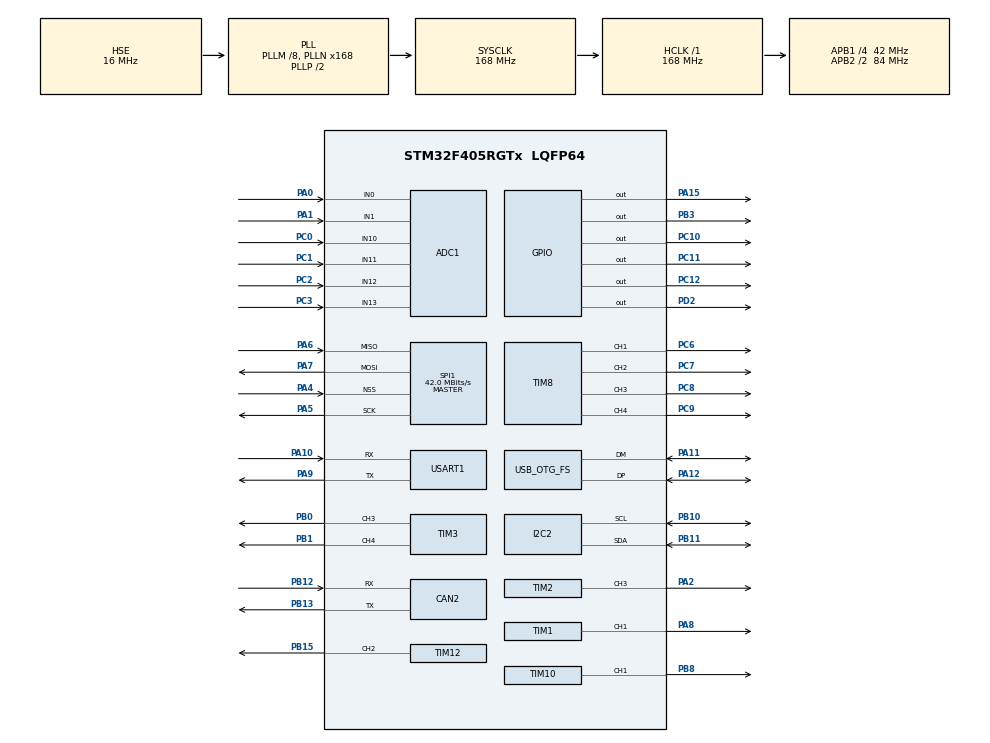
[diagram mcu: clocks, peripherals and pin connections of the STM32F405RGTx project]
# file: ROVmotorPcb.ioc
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ADC1.Channel-0\#ChannelRegularConversion=ADC_CHANNEL_1
ADC1.NbrOfConversionFlag=1
ADC1.Rank-0\#ChannelRegularConversion=1
ADC1.SamplingTime-0\#ChannelRegularConversion=ADC_SAMPLETIME_3CYCLES
ADC1.master=1
CAN2.CalculateTimeQuantum=380.95238095238096
Dma.ADC1.0.Direction=DMA_PERIPH_TO_MEMORY
Dma.ADC1.0.FIFOMode=DMA_FIFOMODE_DISABLE
Dma.ADC1.0.Instance=DMA2_Stream0
Dma.ADC1.0.MemDataAlignment=DMA_MDATAALIGN_HALFWORD
Dma.ADC1.0.MemInc=DMA_MINC_ENABLE
Dma.ADC1.0.Mode=DMA_NORMAL
Dma.ADC1.0.PeriphDataAlignment=DMA_PDATAALIGN_HALFWORD
Dma.ADC1.0.PeriphInc=DMA_PINC_DISABLE
Dma.ADC1.0.Priority=DMA_PRIORITY_MEDIUM
Dma.Request0=ADC1
Dma.Request1=USART1_RX
Dma.Request2=USART1_TX
Dma.USART1_RX.1.Direction=DMA_PERIPH_TO_MEMORY
Dma.USART1_RX.1.FIFOMode=DMA_FIFOMODE_DISABLE
Dma.USART1_RX.1.Instance=DMA2_Stream2
Dma.USART1_RX.1.MemDataAlignment=DMA_MDATAALIGN_BYTE
Dma.USART1_RX.1.MemInc=DMA_MINC_ENABLE
Dma.USART1_RX.1.Mode=DMA_NORMAL
Dma.USART1_RX.1.PeriphDataAlignment=DMA_PDATAALIGN_BYTE
Dma.USART1_RX.1.PeriphInc=DMA_PINC_DISABLE
Dma.USART1_RX.1.Priority=DMA_PRIORITY_MEDIUM
Dma.USART1_TX.2.Direction=DMA_MEMORY_TO_PERIPH
Dma.USART1_TX.2.FIFOMode=DMA_FIFOMODE_DISABLE
Dma.USART1_TX.2.Instance=DMA2_Stream7
Dma.USART1_TX.2.MemDataAlignment=DMA_MDATAALIGN_BYTE
Dma.USART1_TX.2.MemInc=DMA_MINC_ENABLE
Dma.USART1_TX.2.Mode=DMA_NORMAL
Dma.USART1_TX.2.PeriphDataAlignment=DMA_PDATAALIGN_BYTE
Dma.USART1_TX.2.PeriphInc=DMA_PINC_DISABLE
Dma.USART1_TX.2.Priority=DMA_PRIORITY_MEDIUM
Mcu.Family=STM32F4
Mcu.Name=STM32F405RGTx
Mcu.Package=LQFP64
NVIC.DMA2_Stream0_IRQn=true\:0\:0\:false\:false\:true\:false\:true
NVIC.DMA2_Stream2_IRQn=true\:0\:0\:false\:false\:true\:false\:true
NVIC.DMA2_Stream7_IRQn=true\:0\:0\:false\:false\:true\:false\:true
NVIC.OTG_FS_IRQn=true\:0\:0\:false\:false\:true\:false\:true
NVIC.PriorityGroup=NVIC_PRIORITYGROUP_4
PA0-WKUP.Signal=ADCx_IN0
PA1.Signal=ADCx_IN1
PA10.Mode=Asynchronous
PA10.Signal=USART1_RX
PA11.Mode=Device_Only
PA11.Signal=USB_OTG_FS_DM
PA12.Mode=Device_Only
PA12.Signal=USB_OTG_FS_DP
PA13.Mode=Serial_Wire
PA13.Signal=SYS_JTMS-SWDIO
PA14.Mode=Serial_Wire
PA14.Signal=SYS_JTCK-SWCLK
PA15.Signal=GPIO_Output
PA2.Signal=S_TIM2_CH3
PA4.Mode=NSS_Signal_Hard_Input
PA4.Signal=SPI1_NSS
PA5.Mode=Full_Duplex_Master
PA5.Signal=SPI1_SCK
PA6.Mode=Full_Duplex_Master
PA6.Signal=SPI1_MISO
PA7.Mode=Full_Duplex_Master
PA7.Signal=SPI1_MOSI
PA8.Signal=S_TIM1_CH1
PA9.Mode=Asynchronous
PA9.Signal=USART1_TX
PB0.Signal=S_TIM3_CH3
PB1.Signal=S_TIM3_CH4
PB10.Mode=I2C
PB10.Signal=I2C2_SCL
PB11.Mode=I2C
PB11.Signal=I2C2_SDA
PB12.Mode=Slave
PB12.Signal=CAN2_RX
PB13.Mode=Slave
PB13.Signal=CAN2_TX
PB15.Signal=S_TIM12_CH2
PB3.Signal=GPIO_Output
PB8.Signal=S_TIM10_CH1
PC0.Signal=ADCx_IN10
PC1.Signal=ADCx_IN11
PC10.Signal=GPIO_Output
PC11.Signal=GPIO_Output
PC12.Signal=GPIO_Output
PC2.Signal=ADCx_IN12
PC3.Signal=ADCx_IN13
PC6.Signal=S_TIM8_CH1
PC7.Signal=S_TIM8_CH2
PC8.Signal=S_TIM8_CH3
PC9.Signal=S_TIM8_CH4
PD2.Signal=GPIO_Output
PH0-OSC_IN.Mode=HSE-External-Oscillator
PH0-OSC_IN.Signal=RCC_OSC_IN
PH1-OSC_OUT.Mode=HSE-External-Oscillator
PH1-OSC_OUT.Signal=RCC_OSC_OUT
ProjectManager.HeapSize=0x200
ProjectManager.StackSize=0x400
ProjectManager.TargetToolchain=MDK-ARM V5
RCC.48MHZClocksFreq_Value=48000000
RCC.AHBFreq_Value=168000000
RCC.APB1CLKDivider=RCC_HCLK_DIV4
RCC.APB1Freq_Value=42000000
RCC.APB1TimFreq_Value=84000000
RCC.APB2CLKDivider=RCC_HCLK_DIV2
RCC.APB2Freq_Value=84000000
RCC.APB2TimFreq_Value=168000000
RCC.CortexFreq_Value=168000000
RCC.HCLKFreq_Value=168000000
RCC.HSE_VALUE=16000000
RCC.HSI_VALUE=16000000
RCC.LSE_VALUE=32768
RCC.PLLM=8
RCC.PLLN=168
RCC.PLLQ=7
RCC.SYSCLKFreq_VALUE=168000000
RCC.SYSCLKSource=RCC_SYSCLKSOURCE_PLLCLK
RCC.VCOOutputFreq_Value=336000000
SH.ADCx_IN0.0=ADC1_IN0,IN0
SH.ADCx_IN1.0=ADC1_IN1,IN1
SH.ADCx_IN10.0=ADC1_IN10,IN10
SH.ADCx_IN11.0=ADC1_IN11,IN11
SH.ADCx_IN12.0=ADC1_IN12,IN12
SH.ADCx_IN13.0=ADC1_IN13,IN13
SH.S_TIM10_CH1.0=TIM10_CH1,PWM Generation1 CH1
SH.S_TIM12_CH2.0=TIM12_CH2,PWM Generation2 CH2
SH.S_TIM1_CH1.0=TIM1_CH1,Output Compare1 CH1
SH.S_TIM2_CH3.0=TIM2_CH3,PWM Generation3 CH3
SH.S_TIM3_CH3.0=TIM3_CH3,PWM Generation3 CH3
SH.S_TIM3_CH4.0=TIM3_CH4,PWM Generation4 CH4
SH.S_TIM8_CH1.0=TIM8_CH1,PWM Generation1 CH1
SH.S_TIM8_CH2.0=TIM8_CH2,PWM Generation2 CH2
SH.S_TIM8_CH3.0=TIM8_CH3,PWM Generation3 CH3
SH.S_TIM8_CH4.0=TIM8_CH4,PWM Generation4 CH4
SPI1.CalculateBaudRate=42.0 MBits/s
SPI1.Direction=SPI_DIRECTION_2LINES
SPI1.Mode=SPI_MODE_MASTER
SPI1.VirtualNSS=VM_NSSHARD
SPI1.VirtualType=VM_MASTER
TIM1.Channel-Output\ Compare1\ CH1=TIM_CHANNEL_1
TIM10.Channel=TIM_CHANNEL_1
TIM12.Channel-PWM\ Generation2\ CH2=TIM_CHANNEL_2
TIM2.Channel-PWM\ Generation3\ CH3=TIM_CHANNEL_3
TIM3.Channel-PWM\ Generation3\ CH3=TIM_CHANNEL_3
TIM3.Channel-PWM\ Generation4\ CH4=TIM_CHANNEL_4
TIM8.Channel-PWM\ Generation1\ CH1=TIM_CHANNEL_1
TIM8.Channel-PWM\ Generation2\ CH2=TIM_CHANNEL_2
TIM8.Channel-PWM\ Generation3\ CH3=TIM_CHANNEL_3
TIM8.Channel-PWM\ Generation4\ CH4=TIM_CHANNEL_4
USART1.VirtualMode=VM_ASYNC
USB_DEVICE.CLASS_NAME_FS=CDC
USB_DEVICE.VirtualMode-CDC_FS=Cdc
USB_DEVICE.VirtualModeFS=Cdc_FS
USB_OTG_FS.VirtualMode=Device_Only
VP_TIM10_VS_ClockSourceINT.Mode=Enable_Timer
VP_TIM12_VS_ClockSourceINT.Mode=Internal
VP_TIM1_VS_ClockSourceINT.Mode=Internal
VP_TIM3_VS_ClockSourceINT.Mode=Internal
VP_TIM8_VS_ClockSourceINT.Mode=Internal
VP_USB_DEVICE_VS_USB_DEVICE_CDC_FS.Mode=CDC_FS
board=custom

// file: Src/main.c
/* USER CODE BEGIN Header */
/**
  ******************************************************************************
  * @file           : main.c
  * @brief          : Main program body
  ******************************************************************************
  * @attention
  *
  * <h2><center>&copy; Copyright (c) 2019 STMicroelectronics.
  * All rights reserved.</center></h2>
  *
  * This software component is licensed by ST under Ultimate Liberty license
  * SLA0044, the "License"; You may not use this file except in compliance with
  * the License. You may obtain a copy of the License at:
  *                             www.st.com/SLA0044
  *
  ******************************************************************************
  */
/* USER CODE END Header */

#include "main.h"
#include "usb_device.h"

/* USER CODE BEGIN Includes */
#include "MPU9250_I2C.h"
#include "usbd_cdc_if.h"
#include "MadgwickAHRS.c"
#include "BMP280_driver.h"

/* USER CODE END Includes */

ADC_HandleTypeDef hadc1;
DMA_HandleTypeDef hdma_adc1;

CAN_HandleTypeDef hcan2;

I2C_HandleTypeDef hi2c2;

SPI_HandleTypeDef hspi1;

TIM_HandleTypeDef htim1;
TIM_HandleTypeDef htim2;
TIM_HandleTypeDef htim3;
TIM_HandleTypeDef htim8;
TIM_HandleTypeDef htim10;
TIM_HandleTypeDef htim12;

UART_HandleTypeDef huart1;
DMA_HandleTypeDef hdma_usart1_rx;
DMA_HandleTypeDef hdma_usart1_tx;

void SystemClock_Config(void);
static void MX_GPIO_Init(void);
static void MX_DMA_Init(void);
static void MX_I2C2_Init(void);
static void MX_SPI1_Init(void);
static void MX_TIM2_Init(void);
static void MX_TIM3_Init(void);
static void MX_TIM8_Init(void);
static void MX_USART1_UART_Init(void);
static void MX_ADC1_Init(void);
static void MX_TIM1_Init(void);
static void MX_TIM10_Init(void);
static void MX_TIM12_Init(void);
static void MX_CAN2_Init(void);

int main(void)
{
  /* USER CODE BEGIN 1 */
	struct mpuSensorData sensorData;
	char outdata[100];
	struct DPL{
		int16_t h1;
		int16_t h2;
		struct mpuSensorData Data;
	};
	union{
		struct DPL Data;
		uint8_t buffer[24];
	  }Packet;
	  Packet.Data.h1=0x03;
		Packet.Data.h2=0x03;

		struct{
			uint16_t ch0;
			uint16_t ch1;
			uint16_t ch10;
			uint16_t ch11;
			uint16_t ch12;
			uint16_t ch13;
		}adc;

  /* USER CODE END 1 */

  /* MCU Configuration--------------------------------------------------------*/

  /* Reset of all peripherals, Initializes the Flash interface and the Systick. */
  HAL_Init();

  /* Configure the system clock */
  SystemClock_Config();

  /* Initialize all configured peripherals */
  MX_GPIO_Init();
  MX_DMA_Init();
  MX_I2C2_Init();
  MX_SPI1_Init();
  MX_TIM2_Init();
  MX_TIM3_Init();
  MX_TIM8_Init();
  MX_USART1_UART_Init();
  MX_USB_DEVICE_Init();
  MX_ADC1_Init();
  MX_TIM1_Init();
  MX_TIM10_Init();
  MX_TIM12_Init();
  MX_CAN2_Init();
  /* USER CODE BEGIN 2 */
	HAL_TIM_PWM_Start(&htim2,TIM_CHANNEL_ALL);
	HAL_TIM_PWM_Start(&htim3,TIM_CHANNEL_ALL);
	HAL_TIM_PWM_Start(&htim8,TIM_CHANNEL_ALL);

	HAL_ADC_Start_DMA(&hadc1,(uint32_t*)&adc,2);

	BMP280_Handle_t bmp280;
	float bmp280_pressure, bmp280_temperature, bmp280_humidity;
	BMP280_init_default_params(&bmp280.params);
	bmp280.addr = BMP280_I2C_ADDR_0;
	bmp280.i2c = &hi2c1;

	uint16_t size;
	uint8_t Data[256];

	while (!BMP280_init(&bmp280, &bmp280.params))
	{
			size = sprintf((char *)Data, "BMP280 initialization failed\r\n");
			HAL_UART_Transmit(&huart1, Data, size, 1000);
			HAL_Delay(2000);
	}

	bool bme280p = bmp280.id == BME280_CHIP_ID;
	size = sprintf((char *)Data, "BMP280: found %s\r\n", bme280p ? "BME280" : "BMP280");
	HAL_UART_Transmit(&huart1, Data, size, 1000);

  /* USER CODE END 2 */

  /* Infinite loop */
  /* USER CODE BEGIN WHILE */
  while (1)
  {
					while (!BMP280_read_all_params_float(&bmp280, &bmp280_temperature, &bmp280_pressure, &bmp280_humidity))
			{
					size = sprintf((char *)Data, "BMP280: Temperature/pressure reading failed\r\n");
					//HAL_UART_Transmit(&huart1, Data, size, 1000);
					HAL_Delay(1000);
			}

			size = sprintf((char *)Data,"BMP280: Pressure: %.2f Pa, Temperature: %.2f C", bmp280_pressure, bmp280_temperature);
			//HAL_UART_Transmit(&huart1, Data, size, 1000);
			if(bme280p)
			{
					size = sprintf((char *)Data,", Humidity: %.2f\r\n", bmp280_humidity);
					//HAL_UART_Transmit(&huart1, Data, size, 1000);
			}
			else
			{
					size = sprintf((char *)Data, "\r\n");
					//HAL_UART_Transmit(&huart1, Data, size, 1000);
			}
		mpuReadSensor(&sensorData);
		MadgwickAHRSupdate(sensorData.ax,sensorData.ay,sensorData.az,sensorData.gx,sensorData.gy,sensorData.gz,sensorData.hx,sensorData.hy,sensorData.hz);
		sprintf(outdata,"%f,%f,%f\n",roll,pitch,yaw);
		//sprintf(outdata,"%d,%d,%d,%d,%d,%d,%d,%d,%d\n",sensorData.ax,sensorData.ay,sensorData.az,sensorData.gx,sensorData.gy,sensorData.gz,sensorData.hx,sensorData.hy,sensorData.hz);
		CDC_Transmit_FS((uint8_t *)outdata, sizeof(outdata));
		HAL_UART_Transmit_DMA(&huart1, (uint8_t *)outdata, sizeof(outdata));
    /* USER CODE END WHILE */

  }
}

void SystemClock_Config(void)
{
  RCC_OscInitTypeDef RCC_OscInitStruct = {0};
  RCC_ClkInitTypeDef RCC_ClkInitStruct = {0};

  /** Configure the main internal regulator output voltage
  */
  __HAL_RCC_PWR_CLK_ENABLE();
  __HAL_PWR_VOLTAGESCALING_CONFIG(PWR_REGULATOR_VOLTAGE_SCALE1);
  /** Initializes the CPU, AHB and APB busses clocks
  */
  RCC_OscInitStruct.OscillatorType = RCC_OSCILLATORTYPE_HSE;
  RCC_OscInitStruct.HSEState = RCC_HSE_ON;
  RCC_OscInitStruct.PLL.PLLState = RCC_PLL_ON;
  RCC_OscInitStruct.PLL.PLLSource = RCC_PLLSOURCE_HSE;
  RCC_OscInitStruct.PLL.PLLM = 8;
  RCC_OscInitStruct.PLL.PLLN = 168;
  RCC_OscInitStruct.PLL.PLLP = RCC_PLLP_DIV2;
  RCC_OscInitStruct.PLL.PLLQ = 7;
  if (HAL_RCC_OscConfig(&RCC_OscInitStruct) != HAL_OK)
  {
    Error_Handler();
  }
  /** Initializes the CPU, AHB and APB busses clocks
  */
  RCC_ClkInitStruct.ClockType = RCC_CLOCKTYPE_HCLK|RCC_CLOCKTYPE_SYSCLK
                              |RCC_CLOCKTYPE_PCLK1|RCC_CLOCKTYPE_PCLK2;
  RCC_ClkInitStruct.SYSCLKSource = RCC_SYSCLKSOURCE_PLLCLK;
  RCC_ClkInitStruct.AHBCLKDivider = RCC_SYSCLK_DIV1;
  RCC_ClkInitStruct.APB1CLKDivider = RCC_HCLK_DIV4;
  RCC_ClkInitStruct.APB2CLKDivider = RCC_HCLK_DIV2;

  if (HAL_RCC_ClockConfig(&RCC_ClkInitStruct, FLASH_LATENCY_5) != HAL_OK)
  {
    Error_Handler();
  }
}

static void MX_ADC1_Init(void)
{

  ADC_ChannelConfTypeDef sConfig = {0};

  /** Configure the global features of the ADC (Clock, Resolution, Data Alignment and number of conversion)
  */
  hadc1.Instance = ADC1;
  hadc1.Init.ClockPrescaler = ADC_CLOCK_SYNC_PCLK_DIV4;
  hadc1.Init.Resolution = ADC_RESOLUTION_12B;
  hadc1.Init.ScanConvMode = DISABLE;
  hadc1.Init.ContinuousConvMode = DISABLE;
  hadc1.Init.DiscontinuousConvMode = DISABLE;
  hadc1.Init.ExternalTrigConvEdge = ADC_EXTERNALTRIGCONVEDGE_NONE;
  hadc1.Init.ExternalTrigConv = ADC_SOFTWARE_START;
  hadc1.Init.DataAlign = ADC_DATAALIGN_RIGHT;
  hadc1.Init.NbrOfConversion = 1;
  hadc1.Init.DMAContinuousRequests = DISABLE;
  hadc1.Init.EOCSelection = ADC_EOC_SINGLE_CONV;
  if (HAL_ADC_Init(&hadc1) != HAL_OK)
  {
    Error_Handler();
  }
  /** Configure for the selected ADC regular channel its corresponding rank in the sequencer and its sample time.
  */
  sConfig.Channel = ADC_CHANNEL_1;
  sConfig.Rank = 1;
  sConfig.SamplingTime = ADC_SAMPLETIME_3CYCLES;
  if (HAL_ADC_ConfigChannel(&hadc1, &sConfig) != HAL_OK)
  {
    Error_Handler();
  }

}

static void MX_CAN2_Init(void)
{

  hcan2.Instance = CAN2;
  hcan2.Init.Prescaler = 16;
  hcan2.Init.Mode = CAN_MODE_NORMAL;
  hcan2.Init.SyncJumpWidth = CAN_SJW_1TQ;
  hcan2.Init.TimeSeg1 = CAN_BS1_1TQ;
  hcan2.Init.TimeSeg2 = CAN_BS2_1TQ;
  hcan2.Init.TimeTriggeredMode = DISABLE;
  hcan2.Init.AutoBusOff = DISABLE;
  hcan2.Init.AutoWakeUp = DISABLE;
  hcan2.Init.AutoRetransmission = DISABLE;
  hcan2.Init.ReceiveFifoLocked = DISABLE;
  hcan2.Init.TransmitFifoPriority = DISABLE;
  if (HAL_CAN_Init(&hcan2) != HAL_OK)
  {
    Error_Handler();
  }

}

static void MX_I2C2_Init(void)
{

  hi2c2.Instance = I2C2;
  hi2c2.Init.ClockSpeed = 100000;
  hi2c2.Init.DutyCycle = I2C_DUTYCYCLE_2;
  hi2c2.Init.OwnAddress1 = 0;
  hi2c2.Init.AddressingMode = I2C_ADDRESSINGMODE_7BIT;
  hi2c2.Init.DualAddressMode = I2C_DUALADDRESS_DISABLE;
  hi2c2.Init.OwnAddress2 = 0;
  hi2c2.Init.GeneralCallMode = I2C_GENERALCALL_DISABLE;
  hi2c2.Init.NoStretchMode = I2C_NOSTRETCH_DISABLE;
  if (HAL_I2C_Init(&hi2c2) != HAL_OK)
  {
    Error_Handler();
  }

}

static void MX_SPI1_Init(void)
{

  /* SPI1 parameter configuration*/
  hspi1.Instance = SPI1;
  hspi1.Init.Mode = SPI_MODE_MASTER;
  hspi1.Init.Direction = SPI_DIRECTION_2LINES;
  hspi1.Init.DataSize = SPI_DATASIZE_8BIT;
  hspi1.Init.CLKPolarity = SPI_POLARITY_LOW;
  hspi1.Init.CLKPhase = SPI_PHASE_1EDGE;
  hspi1.Init.NSS = SPI_NSS_HARD_INPUT;
  hspi1.Init.BaudRatePrescaler = SPI_BAUDRATEPRESCALER_2;
  hspi1.Init.FirstBit = SPI_FIRSTBIT_MSB;
  hspi1.Init.TIMode = SPI_TIMODE_DISABLE;
  hspi1.Init.CRCCalculation = SPI_CRCCALCULATION_DISABLE;
  hspi1.Init.CRCPolynomial = 10;
  if (HAL_SPI_Init(&hspi1) != HAL_OK)
  {
    Error_Handler();
  }

}

static void MX_TIM1_Init(void)
{

  TIM_ClockConfigTypeDef sClockSourceConfig = {0};
  TIM_MasterConfigTypeDef sMasterConfig = {0};
  TIM_OC_InitTypeDef sConfigOC = {0};
  TIM_BreakDeadTimeConfigTypeDef sBreakDeadTimeConfig = {0};

  htim1.Instance = TIM1;
  htim1.Init.Prescaler = 0;
  htim1.Init.CounterMode = TIM_COUNTERMODE_UP;
  htim1.Init.Period = 0;
  htim1.Init.ClockDivision = TIM_CLOCKDIVISION_DIV1;
  htim1.Init.RepetitionCounter = 0;
  htim1.Init.AutoReloadPreload = TIM_AUTORELOAD_PRELOAD_DISABLE;
  if (HAL_TIM_Base_Init(&htim1) != HAL_OK)
  {
    Error_Handler();
  }
  sClockSourceConfig.ClockSource = TIM_CLOCKSOURCE_INTERNAL;
  if (HAL_TIM_ConfigClockSource(&htim1, &sClockSourceConfig) != HAL_OK)
  {
    Error_Handler();
  }
  if (HAL_TIM_OC_Init(&htim1) != HAL_OK)
  {
    Error_Handler();
  }
  sMasterConfig.MasterOutputTrigger = TIM_TRGO_RESET;
  sMasterConfig.MasterSlaveMode = TIM_MASTERSLAVEMODE_DISABLE;
  if (HAL_TIMEx_MasterConfigSynchronization(&htim1, &sMasterConfig) != HAL_OK)
  {
    Error_Handler();
  }
  sConfigOC.OCMode = TIM_OCMODE_TIMING;
  sConfigOC.Pulse = 0;
  sConfigOC.OCPolarity = TIM_OCPOLARITY_HIGH;
  sConfigOC.OCNPolarity = TIM_OCNPOLARITY_HIGH;
  sConfigOC.OCFastMode = TIM_OCFAST_DISABLE;
  sConfigOC.OCIdleState = TIM_OCIDLESTATE_RESET;
  sConfigOC.OCNIdleState = TIM_OCNIDLESTATE_RESET;
  if (HAL_TIM_OC_ConfigChannel(&htim1, &sConfigOC, TIM_CHANNEL_1) != HAL_OK)
  {
    Error_Handler();
  }
  sBreakDeadTimeConfig.OffStateRunMode = TIM_OSSR_DISABLE;
  sBreakDeadTimeConfig.OffStateIDLEMode = TIM_OSSI_DISABLE;
  sBreakDeadTimeConfig.LockLevel = TIM_LOCKLEVEL_OFF;
  sBreakDeadTimeConfig.DeadTime = 0;
  sBreakDeadTimeConfig.BreakState = TIM_BREAK_DISABLE;
  sBreakDeadTimeConfig.BreakPolarity = TIM_BREAKPOLARITY_HIGH;
  sBreakDeadTimeConfig.AutomaticOutput = TIM_AUTOMATICOUTPUT_DISABLE;
  if (HAL_TIMEx_ConfigBreakDeadTime(&htim1, &sBreakDeadTimeConfig) != HAL_OK)
  {
    Error_Handler();
  }
  HAL_TIM_MspPostInit(&htim1);

}

static void MX_TIM2_Init(void)
{

  TIM_MasterConfigTypeDef sMasterConfig = {0};
  TIM_OC_InitTypeDef sConfigOC = {0};

  htim2.Instance = TIM2;
  htim2.Init.Prescaler = 0;
  htim2.Init.CounterMode = TIM_COUNTERMODE_UP;
  htim2.Init.Period = 0;
  htim2.Init.ClockDivision = TIM_CLOCKDIVISION_DIV1;
  htim2.Init.AutoReloadPreload = TIM_AUTORELOAD_PRELOAD_DISABLE;
  if (HAL_TIM_PWM_Init(&htim2) != HAL_OK)
  {
    Error_Handler();
  }
  sMasterConfig.MasterOutputTrigger = TIM_TRGO_RESET;
  sMasterConfig.MasterSlaveMode = TIM_MASTERSLAVEMODE_DISABLE;
  if (HAL_TIMEx_MasterConfigSynchronization(&htim2, &sMasterConfig) != HAL_OK)
  {
    Error_Handler();
  }
  sConfigOC.OCMode = TIM_OCMODE_PWM1;
  sConfigOC.Pulse = 0;
  sConfigOC.OCPolarity = TIM_OCPOLARITY_HIGH;
  sConfigOC.OCFastMode = TIM_OCFAST_DISABLE;
  if (HAL_TIM_PWM_ConfigChannel(&htim2, &sConfigOC, TIM_CHANNEL_3) != HAL_OK)
  {
    Error_Handler();
  }
  HAL_TIM_MspPostInit(&htim2);

}

static void MX_TIM3_Init(void)
{

  TIM_ClockConfigTypeDef sClockSourceConfig = {0};
  TIM_MasterConfigTypeDef sMasterConfig = {0};
  TIM_OC_InitTypeDef sConfigOC = {0};

  htim3.Instance = TIM3;
  htim3.Init.Prescaler = 0;
  htim3.Init.CounterMode = TIM_COUNTERMODE_UP;
  htim3.Init.Period = 0;
  htim3.Init.ClockDivision = TIM_CLOCKDIVISION_DIV1;
  htim3.Init.AutoReloadPreload = TIM_AUTORELOAD_PRELOAD_DISABLE;
  if (HAL_TIM_Base_Init(&htim3) != HAL_OK)
  {
    Error_Handler();
  }
  sClockSourceConfig.ClockSource = TIM_CLOCKSOURCE_INTERNAL;
  if (HAL_TIM_ConfigClockSource(&htim3, &sClockSourceConfig) != HAL_OK)
  {
    Error_Handler();
  }
  if (HAL_TIM_PWM_Init(&htim3) != HAL_OK)
  {
    Error_Handler();
  }
  sMasterConfig.MasterOutputTrigger = TIM_TRGO_RESET;
  sMasterConfig.MasterSlaveMode = TIM_MASTERSLAVEMODE_DISABLE;
  if (HAL_TIMEx_MasterConfigSynchronization(&htim3, &sMasterConfig) != HAL_OK)
  {
    Error_Handler();
  }
  sConfigOC.OCMode = TIM_OCMODE_PWM1;
  sConfigOC.Pulse = 0;
  sConfigOC.OCPolarity = TIM_OCPOLARITY_HIGH;
  sConfigOC.OCFastMode = TIM_OCFAST_DISABLE;
  if (HAL_TIM_PWM_ConfigChannel(&htim3, &sConfigOC, TIM_CHANNEL_3) != HAL_OK)
  {
    Error_Handler();
  }
  if (HAL_TIM_PWM_ConfigChannel(&htim3, &sConfigOC, TIM_CHANNEL_4) != HAL_OK)
  {
    Error_Handler();
  }
  HAL_TIM_MspPostInit(&htim3);

}

static void MX_TIM8_Init(void)
{

  TIM_ClockConfigTypeDef sClockSourceConfig = {0};
  TIM_MasterConfigTypeDef sMasterConfig = {0};
  TIM_OC_InitTypeDef sConfigOC = {0};
  TIM_BreakDeadTimeConfigTypeDef sBreakDeadTimeConfig = {0};

  htim8.Instance = TIM8;
  htim8.Init.Prescaler = 0;
  htim8.Init.CounterMode = TIM_COUNTERMODE_UP;
  htim8.Init.Period = 0;
  htim8.Init.ClockDivision = TIM_CLOCKDIVISION_DIV1;
  htim8.Init.RepetitionCounter = 0;
  htim8.Init.AutoReloadPreload = TIM_AUTORELOAD_PRELOAD_DISABLE;
  if (HAL_TIM_Base_Init(&htim8) != HAL_OK)
  {
    Error_Handler();
  }
  sClockSourceConfig.ClockSource = TIM_CLOCKSOURCE_INTERNAL;
  if (HAL_TIM_ConfigClockSource(&htim8, &sClockSourceConfig) != HAL_OK)
  {
    Error_Handler();
  }
  if (HAL_TIM_PWM_Init(&htim8) != HAL_OK)
  {
    Error_Handler();
  }
  sMasterConfig.MasterOutputTrigger = TIM_TRGO_RESET;
  sMasterConfig.MasterSlaveMode = TIM_MASTERSLAVEMODE_DISABLE;
  if (HAL_TIMEx_MasterConfigSynchronization(&htim8, &sMasterConfig) != HAL_OK)
  {
    Error_Handler();
  }
  sConfigOC.OCMode = TIM_OCMODE_PWM1;
  sConfigOC.Pulse = 0;
  sConfigOC.OCPolarity = TIM_OCPOLARITY_HIGH;
  sConfigOC.OCNPolarity = TIM_OCNPOLARITY_HIGH;
  sConfigOC.OCFastMode = TIM_OCFAST_DISABLE;
  sConfigOC.OCIdleState = TIM_OCIDLESTATE_RESET;
  sConfigOC.OCNIdleState = TIM_OCNIDLESTATE_RESET;
  if (HAL_TIM_PWM_ConfigChannel(&htim8, &sConfigOC, TIM_CHANNEL_1) != HAL_OK)
  {
    Error_Handler();
  }
  if (HAL_TIM_PWM_ConfigChannel(&htim8, &sConfigOC, TIM_CHANNEL_2) != HAL_OK)
  {
    Error_Handler();
  }
  if (HAL_TIM_PWM_ConfigChannel(&htim8, &sConfigOC, TIM_CHANNEL_3) != HAL_OK)
  {
    Error_Handler();
  }
  if (HAL_TIM_PWM_ConfigChannel(&htim8, &sConfigOC, TIM_CHANNEL_4) != HAL_OK)
  {
    Error_Handler();
  }
  sBreakDeadTimeConfig.OffStateRunMode = TIM_OSSR_DISABLE;
  sBreakDeadTimeConfig.OffStateIDLEMode = TIM_OSSI_DISABLE;
  sBreakDeadTimeConfig.LockLevel = TIM_LOCKLEVEL_OFF;
  sBreakDeadTimeConfig.DeadTime = 0;
  sBreakDeadTimeConfig.BreakState = TIM_BREAK_DISABLE;
  sBreakDeadTimeConfig.BreakPolarity = TIM_BREAKPOLARITY_HIGH;
  sBreakDeadTimeConfig.AutomaticOutput = TIM_AUTOMATICOUTPUT_DISABLE;
  if (HAL_TIMEx_ConfigBreakDeadTime(&htim8, &sBreakDeadTimeConfig) != HAL_OK)
  {
    Error_Handler();
  }
  HAL_TIM_MspPostInit(&htim8);

}

static void MX_TIM10_Init(void)
{

  TIM_OC_InitTypeDef sConfigOC = {0};

  htim10.Instance = TIM10;
  htim10.Init.Prescaler = 0;
  htim10.Init.CounterMode = TIM_COUNTERMODE_UP;
  htim10.Init.Period = 0;
  htim10.Init.ClockDivision = TIM_CLOCKDIVISION_DIV1;
  htim10.Init.AutoReloadPreload = TIM_AUTORELOAD_PRELOAD_DISABLE;
  if (HAL_TIM_Base_Init(&htim10) != HAL_OK)
  {
    Error_Handler();
  }
  if (HAL_TIM_PWM_Init(&htim10) != HAL_OK)
  {
    Error_Handler();
  }
  sConfigOC.OCMode = TIM_OCMODE_PWM1;
  sConfigOC.Pulse = 0;
  sConfigOC.OCPolarity = TIM_OCPOLARITY_HIGH;
  sConfigOC.OCFastMode = TIM_OCFAST_DISABLE;
  if (HAL_TIM_PWM_ConfigChannel(&htim10, &sConfigOC, TIM_CHANNEL_1) != HAL_OK)
  {
    Error_Handler();
  }
  HAL_TIM_MspPostInit(&htim10);

}

static void MX_TIM12_Init(void)
{

  TIM_ClockConfigTypeDef sClockSourceConfig = {0};
  TIM_OC_InitTypeDef sConfigOC = {0};

  htim12.Instance = TIM12;
  htim12.Init.Prescaler = 0;
  htim12.Init.CounterMode = TIM_COUNTERMODE_UP;
  htim12.Init.Period = 0;
  htim12.Init.ClockDivision = TIM_CLOCKDIVISION_DIV1;
  htim12.Init.AutoReloadPreload = TIM_AUTORELOAD_PRELOAD_DISABLE;
  if (HAL_TIM_Base_Init(&htim12) != HAL_OK)
  {
    Error_Handler();
  }
  sClockSourceConfig.ClockSource = TIM_CLOCKSOURCE_INTERNAL;
  if (HAL_TIM_ConfigClockSource(&htim12, &sClockSourceConfig) != HAL_OK)
  {
    Error_Handler();
  }
  if (HAL_TIM_PWM_Init(&htim12) != HAL_OK)
  {
    Error_Handler();
  }
  sConfigOC.OCMode = TIM_OCMODE_PWM1;
  sConfigOC.Pulse = 0;
  sConfigOC.OCPolarity = TIM_OCPOLARITY_HIGH;
  sConfigOC.OCFastMode = TIM_OCFAST_DISABLE;
  if (HAL_TIM_PWM_ConfigChannel(&htim12, &sConfigOC, TIM_CHANNEL_2) != HAL_OK)
  {
    Error_Handler();
  }
  HAL_TIM_MspPostInit(&htim12);

}

static void MX_USART1_UART_Init(void)
{

  huart1.Instance = USART1;
  huart1.Init.BaudRate = 115200;
  huart1.Init.WordLength = UART_WORDLENGTH_8B;
  huart1.Init.StopBits = UART_STOPBITS_1;
  huart1.Init.Parity = UART_PARITY_NONE;
  huart1.Init.Mode = UART_MODE_TX_RX;
  huart1.Init.HwFlowCtl = UART_HWCONTROL_NONE;
  huart1.Init.OverSampling = UART_OVERSAMPLING_16;
  if (HAL_UART_Init(&huart1) != HAL_OK)
  {
    Error_Handler();
  }

}

static void MX_DMA_Init(void)
{
  /* DMA controller clock enable */
  __HAL_RCC_DMA2_CLK_ENABLE();

  /* DMA interrupt init */
  /* DMA2_Stream0_IRQn interrupt configuration */
  HAL_NVIC_SetPriority(DMA2_Stream0_IRQn, 0, 0);
  HAL_NVIC_EnableIRQ(DMA2_Stream0_IRQn);
  /* DMA2_Stream2_IRQn interrupt configuration */
  HAL_NVIC_SetPriority(DMA2_Stream2_IRQn, 0, 0);
  HAL_NVIC_EnableIRQ(DMA2_Stream2_IRQn);
  /* DMA2_Stream7_IRQn interrupt configuration */
  HAL_NVIC_SetPriority(DMA2_Stream7_IRQn, 0, 0);
  HAL_NVIC_EnableIRQ(DMA2_Stream7_IRQn);

}

static void MX_GPIO_Init(void)
{
  GPIO_InitTypeDef GPIO_InitStruct = {0};

  /* GPIO Ports Clock Enable */
  __HAL_RCC_GPIOH_CLK_ENABLE();
  __HAL_RCC_GPIOC_CLK_ENABLE();
  __HAL_RCC_GPIOA_CLK_ENABLE();
  __HAL_RCC_GPIOB_CLK_ENABLE();
  __HAL_RCC_GPIOD_CLK_ENABLE();

  /*Configure GPIO pin Output Level */
  HAL_GPIO_WritePin(GPIOA, GPIO_PIN_15, GPIO_PIN_RESET);

  /*Configure GPIO pin Output Level */
  HAL_GPIO_WritePin(GPIOC, GPIO_PIN_10|GPIO_PIN_11|GPIO_PIN_12, GPIO_PIN_RESET);

  /*Configure GPIO pin Output Level */
  HAL_GPIO_WritePin(GPIOD, GPIO_PIN_2, GPIO_PIN_RESET);

  /*Configure GPIO pin Output Level */
  HAL_GPIO_WritePin(GPIOB, GPIO_PIN_3, GPIO_PIN_RESET);

  /*Configure GPIO pin : PA15 */
  GPIO_InitStruct.Pin = GPIO_PIN_15;
  GPIO_InitStruct.Mode = GPIO_MODE_OUTPUT_PP;
  GPIO_InitStruct.Pull = GPIO_NOPULL;
  GPIO_InitStruct.Speed = GPIO_SPEED_FREQ_LOW;
  HAL_GPIO_Init(GPIOA, &GPIO_InitStruct);

  /*Configure GPIO pins : PC10 PC11 PC12 */
  GPIO_InitStruct.Pin = GPIO_PIN_10|GPIO_PIN_11|GPIO_PIN_12;
  GPIO_InitStruct.Mode = GPIO_MODE_OUTPUT_PP;
  GPIO_InitStruct.Pull = GPIO_NOPULL;
  GPIO_InitStruct.Speed = GPIO_SPEED_FREQ_LOW;
  HAL_GPIO_Init(GPIOC, &GPIO_InitStruct);

  /*Configure GPIO pin : PD2 */
  GPIO_InitStruct.Pin = GPIO_PIN_2;
  GPIO_InitStruct.Mode = GPIO_MODE_OUTPUT_PP;
  GPIO_InitStruct.Pull = GPIO_NOPULL;
  GPIO_InitStruct.Speed = GPIO_SPEED_FREQ_LOW;
  HAL_GPIO_Init(GPIOD, &GPIO_InitStruct);

  /*Configure GPIO pin : PB3 */
  GPIO_InitStruct.Pin = GPIO_PIN_3;
  GPIO_InitStruct.Mode = GPIO_MODE_OUTPUT_PP;
  GPIO_InitStruct.Pull = GPIO_NOPULL;
  GPIO_InitStruct.Speed = GPIO_SPEED_FREQ_LOW;
  HAL_GPIO_Init(GPIOB, &GPIO_InitStruct);

}

void Error_Handler(void)
{
}

/************************ (C) COPYRIGHT STMicroelectronics *****END OF FILE****/
